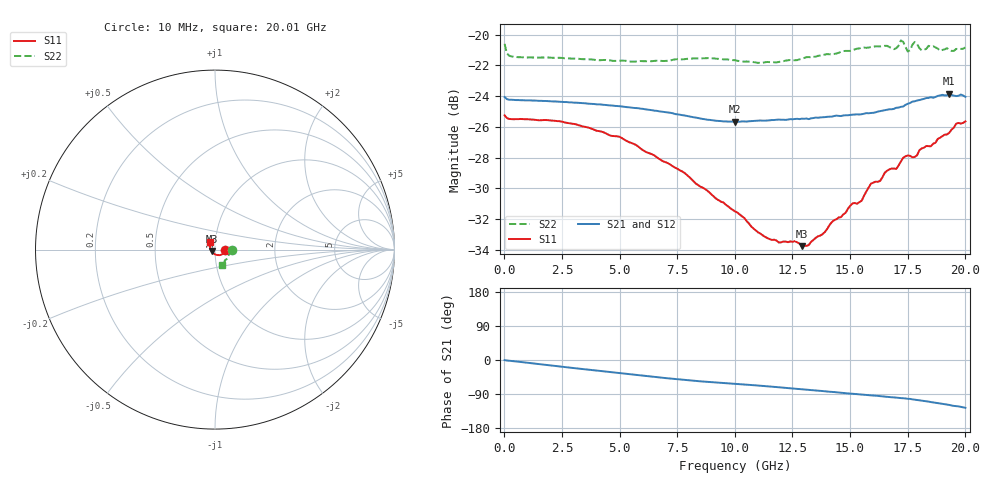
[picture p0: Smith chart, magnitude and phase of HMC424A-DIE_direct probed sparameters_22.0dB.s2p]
!s2p File: Measurements: S11, S21, S12, S22
# GHz S dB R 50.0
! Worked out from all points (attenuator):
!   201 points, 10 MHz to 20.01 GHz, reference 50 ohm
!   highest |S21| = -23.84 dB at 19.31 GHz (marker M1); lowest = -25.7 dB at 10.01 GHz (marker M2)
!   lowest |S11| = -33.8 dB at 12.91 GHz (marker M3), VSWR 1.04, Z = 48.2 - j0.898 ohm
!   |S11| at or under -10 dB: start of sweep to end of sweep
!   |S22| runs from -21.8 to -20.4 dB; largest |S21 - S12| = 0.00068
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0.01  -25.24 -0.2  -24.05 -0.3  -24.05 -0.5  -20.59 -1.7
0.11  -25.42 -1.5  -24.19 -1.3  -24.19 -1.3  -21.22 -2.8
0.31  -25.49 -2.4  -24.23 -2.5  -24.23 -2.5  -21.41 -2.8
3.41  -25.97 -23.7  -24.45 -24.0  -24.45 -24.0  -21.59 -16.6
5.01  -26.65 -36.8  -24.65 -34.8  -24.66 -34.8  -21.69 -23.3
6.71  -28.07 -51.3  -24.98 -46.0  -24.98 -45.9  -21.69 -29.6
10.01  -31.49 -90.6  -25.66 -62.8  -25.65 -62.7  -21.66 -43.5
11.41  -33.23 -117.9  -25.58 -69.4  -25.56 -69.3  -21.77 -46.4
12.91  -33.76 -153.0  -25.46 -77.2  -25.44 -77.2  -21.56 -49.3
13.41  -33.36 -164.9  -25.42 -79.6  -25.43 -79.7  -21.43 -50.7
15.11  -30.98 163.1  -25.20 -89.1  -25.21 -89.0  -21.00 -56.0
15.51  -30.80 156.8  -25.17 -91.2  -25.13 -91.0  -20.84 -57.3
15.91  -29.69 150.6  -25.09 -93.4  -25.09 -93.4  -20.80 -59.0
16.31  -29.51 145.3  -24.97 -95.4  -24.95 -95.3  -20.76 -60.7
16.71  -28.76 140.6  -24.85 -97.7  -24.82 -97.8  -20.80 -63.1
17.01  -28.73 139.0  -24.75 -99.3  -24.70 -99.4  -20.87 -62.2
17.21  -28.25 138.7  -24.69 -100.5  -24.64 -100.8  -20.37 -63.2
17.51  -27.86 134.4  -24.49 -102.4  -24.51 -102.9  -21.09 -65.6
17.81  -27.95 132.0  -24.33 -104.7  -24.36 -104.8  -20.47 -65.1
18.11  -27.40 128.8  -24.21 -107.2  -24.27 -107.0  -21.01 -66.8
19.31  -26.38 126.1  -23.84 -118.6  -23.83 -118.5  -20.99 -68.2
20.01  -25.64 125.6  -24.04 -126.1  -24.01 -126.0  -20.82 -66.3
